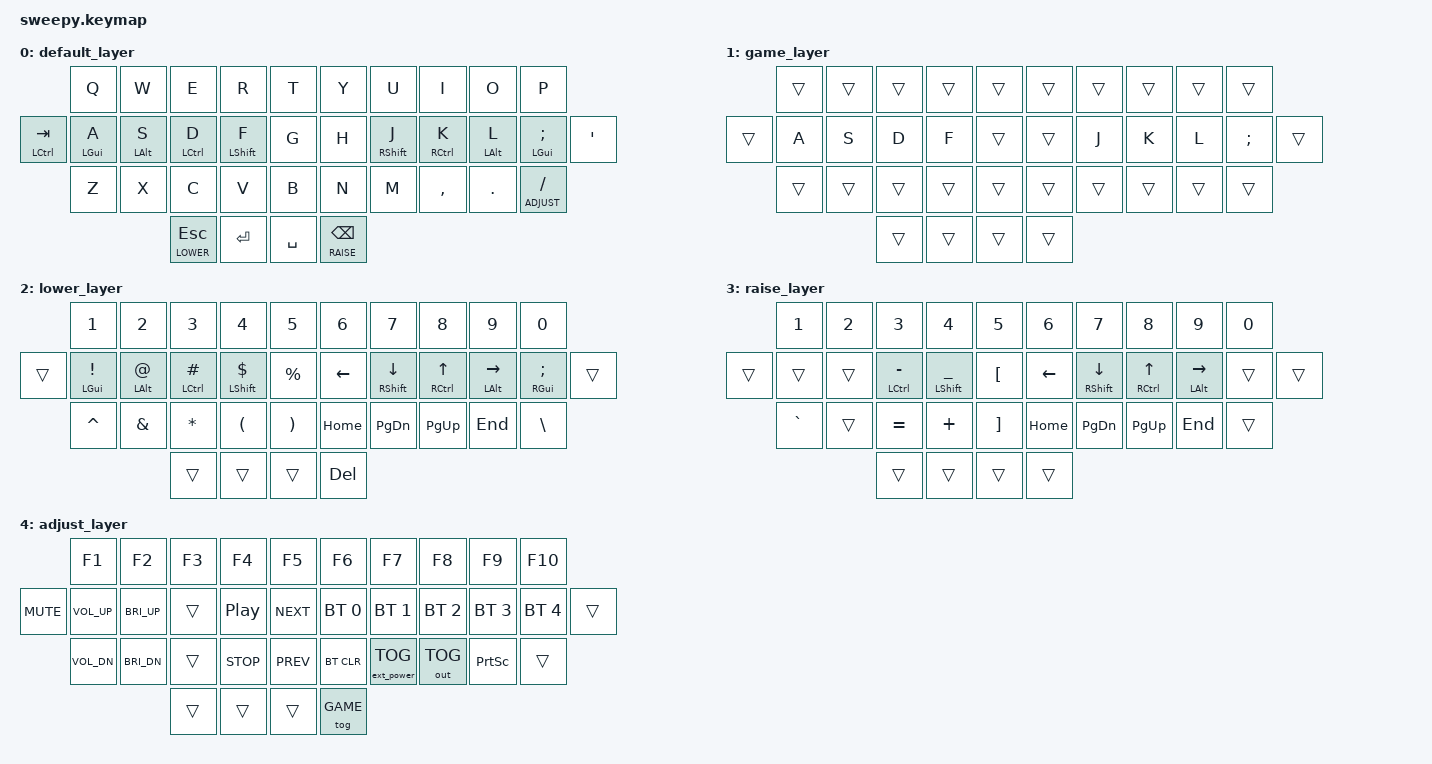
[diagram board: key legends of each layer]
/*
 * Copyright (c) 2020 The ZMK Contributors
 *
 * SPDX-License-Identifier: MIT
 */

#include <behaviors.dtsi>
#include <dt-bindings/zmk/keys.h>
#include <dt-bindings/zmk/bt.h>
#include <dt-bindings/zmk/ext_power.h>
#include <dt-bindings/zmk/outputs.h>

#define DEFAULT 0
#define GAME    1
#define LOWER   2
#define RAISE   3
#define ADJUST  4


&lt {
	quick-tap-ms = <200>;	
};

&mt {
	quick-tap-ms = <200>;	
};

/ {
    behaviors {
        hm: homerow_mods {
            compatible = "zmk,behavior-hold-tap";
            label = "HOMEROW_MODS";
            #binding-cells = <2>;
            tapping-term-ms = <175>;
            quick_tap_ms = <200>;
            flavor = "tap-preferred";
            bindings = <&kp>, <&kp>;
        };
        hold_tog: behavior_mo_tog {
            compatible = "zmk,behavior-hold-tap";
            label = "HOLD_TOG";
            #binding-cells = <2>;
            flavor = "hold-preferred";
            tapping-term-ms = <200>;
            bindings = <&kp>, <&tog>;
        };
    };


        keymap {
		compatible = "zmk,keymap";

		default_layer {
			bindings = <
              &kp Q  	  &kp W       &kp E        &kp R    	 &kp T        &kp Y  	    &kp U    	    &kp I     	&kp O       &kp P    	 
&hm LCTRL TAB &hm LGUI A  &hm LALT S  &hm LCTRL D  &hm LSHFT F   &kp G        &kp H  	    &hm RSHFT J     &hm RCTRL K	&hm LALT L  &hm LGUI SEMI   &kp SQT
              &kp Z  	  &kp X       &kp C        &kp V    	 &kp B	      &kp N  	    &kp M    	    &kp COMMA 	&kp DOT     &lt ADJUST FSLH 	 
                  		     		   &lt LOWER ESC &kp RET      &kp SPACE     &lt RAISE BSPC 
			>;
		};
		
		game_layer {
// Drops the home row mods so you can WASD
			bindings = <
	&trans  &trans	&trans	     &trans 	  &trans              &trans  	&trans    &trans    &trans    &trans  
&trans  &kp A  	&kp S  	&kp D	     &kp F  	  &trans              &trans  	&kp J 	  &kp K	    &kp L     &kp SEMI &trans
	&trans  &trans	&trans	     &trans 	  &trans              &trans  	&trans    &trans    &trans    &trans  
                             	     &trans       &trans	      &trans    &trans
			>;
		};

		lower_layer {
			bindings = <
	&kp N1         &kp N2       &kp N3  	    &kp N4            &kp N5       &kp N6    &kp N7    	     &kp N8    	   &kp N9	   &kp N0
&trans 	&hm LGUI EXCL  &hm LALT AT  &hm LCTRL HASH  &hm LSHFT DOLLAR  &kp PRCNT    &kp LEFT  &hm RSHFT DOWN  &hm RCTRL UP  &hm LALT RIGHT  &hm RGUI SEMI &trans  
	&kp CARET      &kp AMPS     &kp STAR	    &kp LPAR          &kp RPAR     &kp HOME  &kp PG_DN 	     &kp PG_UP     &kp END	   &kp BSLH
                     	      		    	    &trans	      &trans       &trans    &kp DEL
			>;
		};

		raise_layer {
			bindings = <
	&kp N1		&kp N2    &kp N3      	  &kp N4      	   &kp N5	&kp N6	  &kp N7    	  &kp N8    	&kp N9          &kp N0
&trans 	&trans   	&trans    &hm LCTRL MINUS &hm LSHFT UNDER  &kp LBKT 	&kp LEFT  &hm RSHFT DOWN  &hm RCTRL UP  &hm LALT RIGHT	&trans 	&trans
	&kp GRAVE      	&trans    &kp EQUAL   	  &kp PLUS    	   &kp RBKT     &kp HOME  &kp PG_DN 	  &kp PG_UP 	&kp END		&trans
                	      		  	  &trans	   &trans       &trans    &trans
			>;
		};

		adjust_layer {
			bindings = <
		&kp F1       &kp F2       &kp F3 &kp F4     &kp F5       &kp F6       &kp F7	      	 &kp F8       &kp F9       	&kp F10      
&kp C_MUTE	&kp C_VOL_UP &kp C_BRI_UP &trans &kp C_PP   &kp C_NEXT   &bt BT_SEL 0 &bt BT_SEL 1       &bt BT_SEL 2 &bt BT_SEL 3 	&bt BT_SEL 4 &trans
  		&kp C_VOL_DN &kp C_BRI_DN &trans &kp C_STOP &kp C_PREV   &bt BT_CLR   &ext_power EP_TOG  &out OUT_TOG &kp PRINTSCREEN	&trans
                        	      		 &trans     &trans       &trans	      &tog GAME
			>;
		};
        
	};
};

